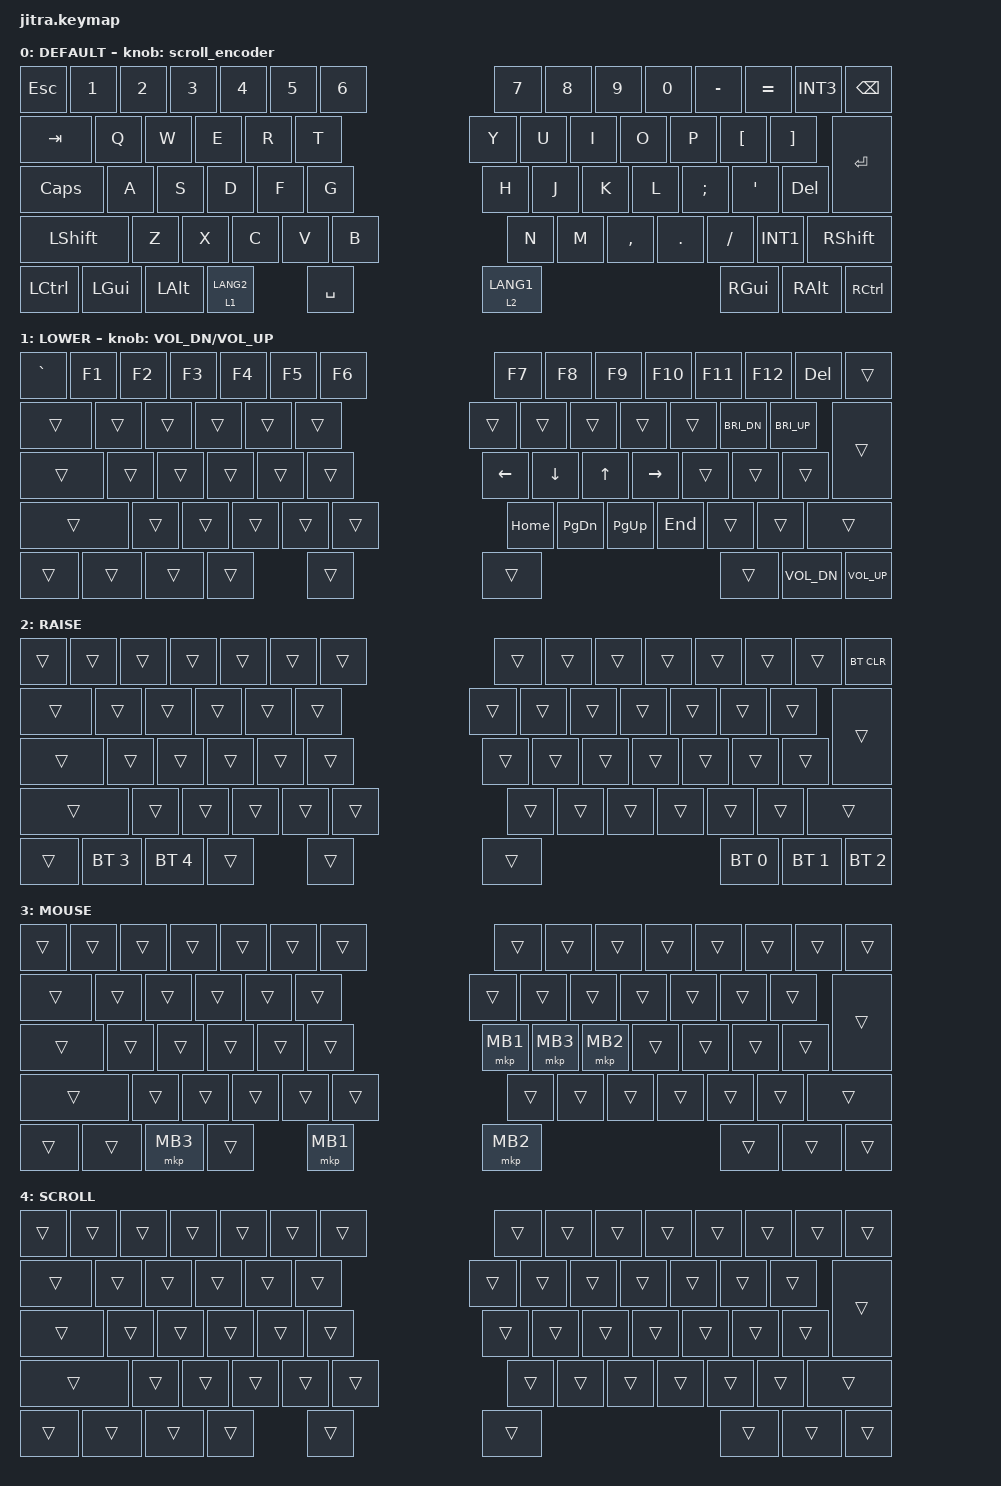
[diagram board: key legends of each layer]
#include <behaviors.dtsi>
#include <dt-bindings/zmk/bt.h>
#include <dt-bindings/zmk/keys.h>
#include <dt-bindings/zmk/pointing.h>

// msc(マウスホイール)の既定スクロール量(10)は小さすぎるため引き上げ (moNa2-v2 と同じ100)
// pointing.h で定義済みなので警告回避のため一旦 undef
#undef ZMK_POINTING_DEFAULT_SCRL_VAL
#define ZMK_POINTING_DEFAULT_SCRL_VAL 100

&mt {
    flavor = "balanced";
    quick-tap-ms = <0>;
};

&lt {
    flavor = "balanced";
    quick-tap-ms = <200>;
};

&trackball {
    automouse-layer = <3>;
    scroll-layers = <4>;
};

/ {
    behaviors {
        // moNa2-v2 と同じく、矢印キー連打ではなくマウスホイール(msc)を送る
        // (以前スクロールが止まらなかったのは steps/triggers-per-rotation の誤りで
        //  1クリックあたり約3.3回トリガーされ処理が溜まっていたため。jitra.dtsi で修正済み)
        scroll_encoder: scroll_encoder {
            compatible = "zmk,behavior-sensor-rotate";
            #sensor-binding-cells = <0>;
            bindings = <&msc SCRL_UP>, <&msc SCRL_DOWN>;
            tap-ms = <20>;
        };
    };

    keymap {
        compatible = "zmk,keymap";

        // ─── Layer 0: DEFAULT (JIS 60%, 最下段のみ特殊) ────────────────
        default_layer {
            display-name = "DEFAULT";
            bindings = <
// Row 0 (15 keys): ESC 1-6 | 7 8 9 0 - ^ ¥(INT3) BS
&kp ESC    &kp N1   &kp N2   &kp N3   &kp N4      &kp N5    &kp N6
           &kp N7   &kp N8   &kp N9   &kp N0      &kp MINUS &kp EQUAL  &kp INT3   &kp BSPC
// Row 1 (14 keys): TAB Q-T | Y U I O P @(LBKT) [(RBKT) ENTER(tall)
&kp TAB    &kp Q    &kp W    &kp E    &kp R       &kp T
           &kp Y    &kp U    &kp I    &kp O       &kp P     &kp LBKT   &kp RBKT   &kp ENTER
// Row 2 (13 keys): CAPS A-G | H J K L ;(SEMI) :(SQT) DEL(前方削除、Enterと重複していたキーを変更)
&kp CAPS   &kp A    &kp S    &kp D    &kp F       &kp G
           &kp H    &kp J    &kp K    &kp L       &kp SEMI  &kp SQT    &kp DEL
// Row 3 (13 keys): LSHFT Z-B | N M , . / ろ(INT1) RSHFT
&kp LSHFT  &kp Z    &kp X    &kp C    &kp V       &kp B
           &kp N    &kp M    &kp COMMA &kp DOT    &kp SLASH &kp INT1   &kp RSHFT
// Row 4 (9 keys, special): LCTRL ⌘ ⌥ 英数/[LWR] SPACE | かな/[RSE] ⌘ ⌥ RCTRL
&kp LCTRL  &kp LGUI &kp LALT &lt 1 LANG2          &kp SPACE
           &lt 2 LANG1 &kp RGUI &kp RALT          &kp RCTRL
            >;
            sensor-bindings = <&scroll_encoder>;
        };

        // ─── Layer 1: LOWER (F keys / Navigation / Media) ─────────────
        lower_layer {
            display-name = "LOWER";
            bindings = <
// Row 0: ` F1-F6 | F7 F8 F9 F10 F11 F12 DEL ---
&kp GRAVE  &kp F1   &kp F2   &kp F3   &kp F4      &kp F5    &kp F6
           &kp F7   &kp F8   &kp F9   &kp F10     &kp F11   &kp F12    &kp DEL    &trans
// Row 1: --- | --- --- --- --- 輝度↓ 輝度↑ ---
&trans     &trans   &trans   &trans   &trans      &trans
           &trans   &trans   &trans   &trans      &trans    &kp C_BRI_DN &kp C_BRI_UP &trans
// Row 2: --- | ← ↓ ↑ → --- ---
&trans     &trans   &trans   &trans   &trans      &trans
           &kp LEFT &kp DOWN &kp UP   &kp RIGHT   &trans    &trans     &trans
// Row 3: --- | Home PgDn PgUp End --- ---
&trans     &trans   &trans   &trans   &trans      &trans
           &kp HOME &kp PG_DN &kp PG_UP &kp END   &trans    &trans     &trans
// Row 4: --- | --- --- Vol- Vol+
&trans     &trans   &trans   &trans               &trans
           &trans   &trans   &kp C_VOL_DN          &kp C_VOL_UP
            >;
            // LOWERレイヤー中はエンコーダーでボリューム操作 (moNa2-v2 参考)
            sensor-bindings = <&inc_dec_kp C_VOL_DN C_VOL_UP>;
        };

        // ─── Layer 2: RAISE (Bluetooth) ───────────────────────────────
        raise_layer {
            display-name = "RAISE";
            bindings = <
// Row 0: --- | --- BT_CLR(BSPCの位置)
&trans     &trans   &trans   &trans   &trans      &trans    &trans
           &trans   &trans   &trans   &trans      &trans    &trans     &trans     &bt BT_CLR
// Row 1: ---
&trans     &trans   &trans   &trans   &trans      &trans
           &trans   &trans   &trans   &trans      &trans    &trans     &trans     &trans
// Row 2: ---
&trans     &trans   &trans   &trans   &trans      &trans
           &trans   &trans   &trans   &trans      &trans    &trans     &trans
// Row 3: ---
&trans     &trans   &trans   &trans   &trans      &trans
           &trans   &trans   &trans   &trans      &trans    &trans     &trans
// Row 4: --- BT3 BT4 --- | --- BT0 BT1 BT2 (moNa2-v2 に合わせ5プロファイル化)
&trans     &bt BT_SEL 3 &bt BT_SEL 4 &trans      &trans
           &trans   &bt BT_SEL 0 &bt BT_SEL 1   &bt BT_SEL 2
            >;
        };

        // ─── Layer 3: MOUSE (トラックボール自動起動) ──────────────────
        mouse_layer {
            display-name = "MOUSE";
            bindings = <
// Row 0-1: ---
&trans     &trans   &trans   &trans   &trans      &trans    &trans
           &trans   &trans   &trans   &trans      &trans    &trans     &trans     &trans
&trans     &trans   &trans   &trans   &trans      &trans
           &trans   &trans   &trans   &trans      &trans    &trans     &trans     &trans
// Row 2: --- | MB1(左) MB3(中) MB2(右) --- ---
&trans     &trans   &trans   &trans   &trans      &trans
           &mkp MB1 &mkp MB3 &mkp MB2 &trans      &trans    &trans     &trans
// Row 3: ---
&trans     &trans   &trans   &trans   &trans      &trans
           &trans   &trans   &trans   &trans      &trans    &trans     &trans
// Row 4: --- --- MB3 --- SPACE=MB1 | MB2 --- --- ---
&trans     &trans   &mkp MB3 &trans               &mkp MB1
           &mkp MB2 &trans   &trans                &trans
            >;
        };

        // ─── Layer 4: SCROLL (スクロールモード) ───────────────────────
        scroll_layer {
            display-name = "SCROLL";
            bindings = <
&trans     &trans   &trans   &trans   &trans      &trans    &trans
           &trans   &trans   &trans   &trans      &trans    &trans     &trans     &trans
&trans     &trans   &trans   &trans   &trans      &trans
           &trans   &trans   &trans   &trans      &trans    &trans     &trans     &trans
&trans     &trans   &trans   &trans   &trans      &trans
           &trans   &trans   &trans   &trans      &trans    &trans     &trans
&trans     &trans   &trans   &trans   &trans      &trans
           &trans   &trans   &trans   &trans      &trans    &trans     &trans
&trans     &trans   &trans   &trans               &trans
           &trans   &trans   &trans               &trans
            >;
        };
    };
};
